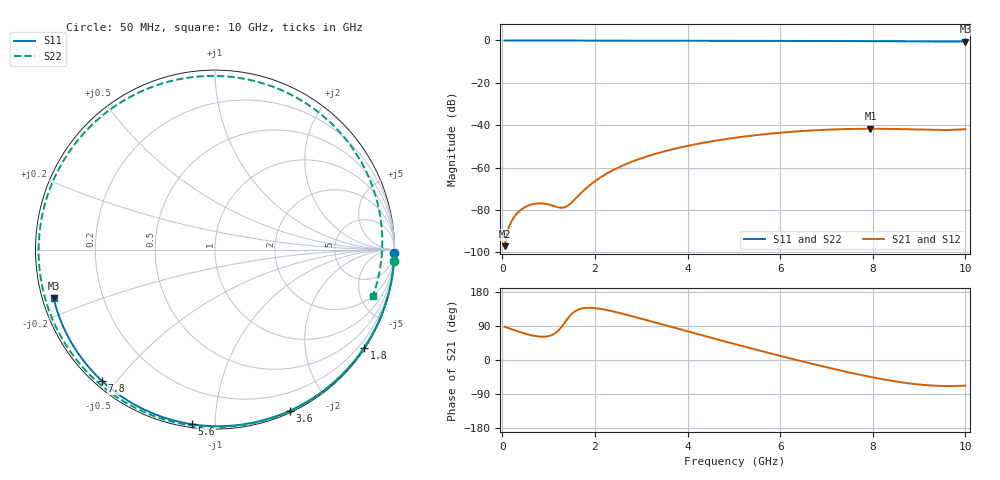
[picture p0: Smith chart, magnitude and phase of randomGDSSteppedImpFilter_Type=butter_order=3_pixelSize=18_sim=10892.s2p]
! freq	dB(S11)	phase(S11)	dB(S12)	phase(S12)
!  dB(S21)	phase(S21)	dB(S22)	phase(S22)
!S-par simulation data
#  GHz  S  DB  R 50
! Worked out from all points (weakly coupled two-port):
!   200 points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, 50 MHz to 10 GHz, reference 50 ohm
!   highest |S21| = -41.68 dB at 7.95 GHz (marker M1); lowest = -97.1 dB at 50 MHz (marker M2)
!   lowest |S11| = -0.5 dB at 10 GHz (marker M3), VSWR 31.92, Z = 1.6 - j7.32 ohm
!   |S11| at or under -10 dB: nowhere
!   |S22| runs from -0.8 to 0.0 dB; largest |S21 - S12| = 0
!   S11 on the Smith chart (normalised r, x): 50 MHz: open; 1.8 GHz: 0.03, -3.32; 3.6 GHz: 0.02, -1.56; 5.6 GHz: 0.02, -0.88; 7.8 GHz: 0.02, -0.46; 10 GHz: 0.03, -0.15
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0.05  -0.00 -1.0  -97.12 87.8  -97.12 87.8  -0.00 -3.6
0.45  -0.01 -8.5  -79.22 71.1  -79.22 71.1  -0.04 -31.2
0.65  -0.02 -12.3  -77.33 64.7  -77.33 64.7  -0.06 -44.4
0.9  -0.02 -16.9  -77.02 61.4  -77.02 61.4  -0.07 -60.1
1.35  -0.03 -25.3  -78.75 99.1  -78.75 99.1  -0.09 -85.6
1.75  -0.04 -32.6  -70.99 136.8  -70.99 136.8  -0.10 -105.4
1.8  -0.04 -33.5  -70.00 137.6  -70.00 137.6  -0.11 -107.6
2.15  -0.05 -39.9  -64.25 134.3  -64.25 134.3  -0.11 -122.6
2.55  -0.06 -47.0  -59.56 123.5  -59.56 123.5  -0.12 -138.0
3.4  -0.08 -61.8  -52.96 95.7  -52.96 95.7  -0.14 -165.9
3.6  -0.09 -65.2  -51.80 89.0  -51.80 89.0  -0.14 -171.9
4.3  -0.11 -76.9  -48.48 65.6  -48.48 65.6  -0.16 168.4
5.05  -0.14 -89.0  -45.87 41.0  -45.87 41.0  -0.19 148.4
5.6  -0.16 -97.6  -44.42 23.4  -44.42 23.4  -0.21 133.9
6.7  -0.22 -114.4  -42.46 -10.4  -42.46 -10.4  -0.26 104.0
7.25  -0.26 -122.6  -41.93 -26.2  -41.93 -26.2  -0.29 88.1
7.8  -0.31 -130.7  -41.69 -40.9  -41.69 -40.9  -0.33 71.1
7.95  -0.32 -132.9  -41.68 -44.6  -41.68 -44.6  -0.34 66.2
8.35  -0.36 -138.7  -41.74 -53.7  -41.74 -53.7  -0.37 52.7
9.3  -0.46 -152.8  -42.24 -67.5  -42.24 -67.5  -0.52 16.4
9.65  -0.50 -158.0  -42.26 -68.6  -42.26 -68.6  -0.61 0.8
10  -0.54 -163.3  -41.85 -67.8  -41.85 -67.8  -0.75 -16.6
